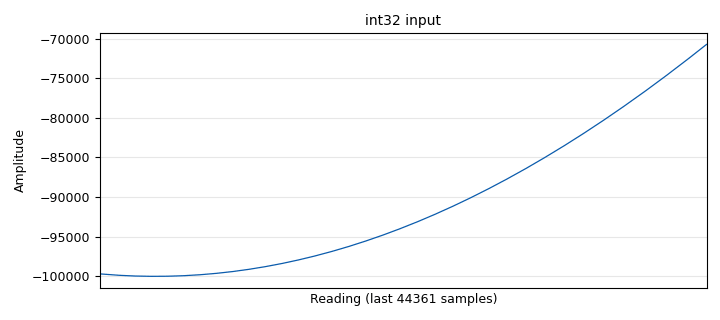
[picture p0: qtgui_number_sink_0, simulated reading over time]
options:
  parameters:
    generate_options: qt_gui
    id: Number_Sink_int32
    output_language: python
    title: Number_Sink int32 demo
  states: {}

blocks:
- name: amp
  id: variable
  parameters:
    value: '100000'
  states: {}
- name: samp_rate
  id: variable
  parameters:
    value: '32000'
  states: {}
- name: analog_sig_source_x_0
  id: analog_sig_source_x
  parameters:
    amp: amp
    freq: '0.1'
    offset: '0'
    phase: '0'
    samp_rate: samp_rate
    type: int
    waveform: analog.GR_COS_WAVE
  states: {}
- name: blocks_throttle2_0
  id: blocks_throttle2
  parameters:
    samples_per_second: samp_rate
    type: int
  states: {}
- name: qtgui_number_sink_0
  id: qtgui_number_sink
  parameters:
    graph_type: qtgui.NUM_GRAPH_HORIZ
    max: amp
    min: '-amp'
    name: '"int32 input"'
    type: int
  states: {}

connections:
- [analog_sig_source_x_0, '0', blocks_throttle2_0, '0']
- [blocks_throttle2_0, '0', qtgui_number_sink_0, '0']

metadata:
  file_format: 1
